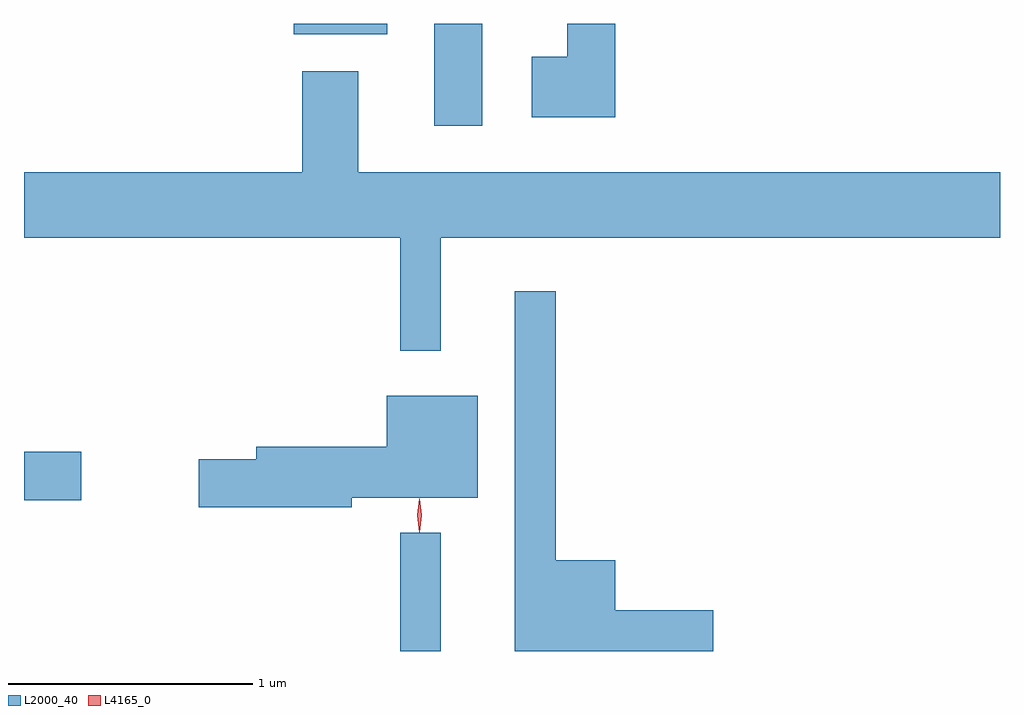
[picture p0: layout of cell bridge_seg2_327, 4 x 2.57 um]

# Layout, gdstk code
import gdstk
lib = gdstk.Library(unit=1e-6, precision=1e-09)
def R(c, l, rs):  # rectangles x0, y0, x1, y1
    for r in rs: c.add(gdstk.rectangle(r[:2], r[2:], *l))
def P(c, l, *ps):  # polygons
    for p in ps: c.add(gdstk.Polygon(p, *l))
L2000_40 = (2000, 40)
L4165_0 = (4165, 0)

bridge_seg2_327 = lib.new_cell('bridge_seg2_327')
R(bridge_seg2_327, L2000_40, [(419.961,977.802,420.129,978.288), (418.42,978.421,418.654,978.619), (420.101,979.956,420.299,980.373), (419.526,980.331,419.909,980.373)])
P(bridge_seg2_327, L2000_40, [(420.844,980.373),(420.646,980.373),(420.646,980.239),(420.501,980.239),(420.501,979.991),(420.844,979.991)],
  [(420.129,979.496),(422.42,979.496),(422.42,979.764),(419.789,979.764),(419.789,980.179),(419.561,980.179),(419.561,979.764),(418.42,979.764),(418.42,979.496),(419.961,979.496),(419.961,979.033),(420.129,979.033)],
  [(421.244,977.969),(420.844,977.969),(420.844,978.174),(420.599,978.174),(420.599,979.278),(420.431,979.278),(420.431,977.802),(421.244,977.802)],
  [(419.764,978.431),(420.279,978.431),(420.279,978.849),(419.906,978.849),(419.906,978.639),(419.371,978.639),(419.371,978.589),(419.136,978.589),(419.136,978.391),(419.764,978.391)])
P(bridge_seg2_327, L4165_0, [(420.04,978.29),(420.031,978.358),(420.04,978.426),(420.041,978.426),(420.041,978.426),(420.051,978.358),(420.041,978.29),(420.041,978.29)])

lib.write_gds('bridge_seg2_327.gds')
